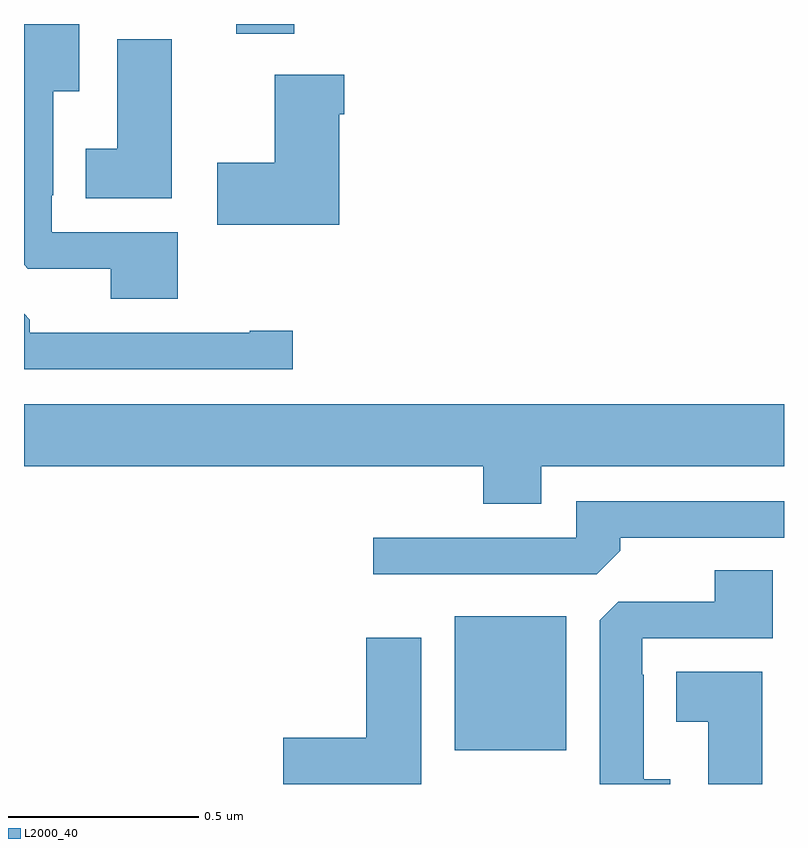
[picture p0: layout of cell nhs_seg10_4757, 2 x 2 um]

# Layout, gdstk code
import gdstk
lib = gdstk.Library(unit=1e-6, precision=1e-09)
def R(c, l, rs):  # rectangles x0, y0, x1, y1
    for r in rs: c.add(gdstk.rectangle(r[:2], r[2:], *l))
def P(c, l, *ps):  # polygons
    for p in ps: c.add(gdstk.Polygon(p, *l))
L2000_40 = (2000, 40)

nhs_seg10_4757 = lib.new_cell('nhs_seg10_4757')
R(nhs_seg10_4757, L2000_40, [(171.134,1279.589,171.427,1279.942), (170.558,1281.474,170.711,1281.5)])
P(nhs_seg10_4757, L2000_40, [(170.404,1280.952),(170.073,1280.952),(170.073,1281.049),(170.077,1281.049),(170.077,1281.323),(170.146,1281.323),(170.146,1281.5),(170,1281.5),(170,1280.866),(170.01,1280.856),(170.228,1280.856),(170.228,1280.777),(170.404,1280.777)],
  [(170.389,1281.46),(170.246,1281.46),(170.246,1281.172),(170.162,1281.172),(170.162,1281.041),(170.389,1281.041)],
  [(170.83,1281.263),(170.843,1281.263),(170.843,1281.367),(170.66,1281.367),(170.66,1281.135),(170.508,1281.135),(170.508,1280.972),(170.83,1280.972)],
  [(170.707,1280.693),(170.594,1280.693),(170.594,1280.688),(170.015,1280.688),(170.015,1280.722),(170,1280.737),(170,1280.592),(170.707,1280.592)],
  [(171.361,1280.336),(172,1280.336),(172,1280.5),(170,1280.5),(170,1280.336),(171.209,1280.336),(171.209,1280.237),(171.361,1280.237)],
  [(171.569,1280.114),(171.569,1280.148),(172,1280.148),(172,1280.244),(171.453,1280.244),(171.453,1280.148),(170.919,1280.148),(170.919,1280.052),(171.507,1280.052)],
  [(171.7,1279.513),(171.631,1279.513),(171.631,1279.787),(171.627,1279.787),(171.627,1279.884),(171.971,1279.884),(171.971,1280.063),(171.818,1280.063),(171.818,1279.98),(171.564,1279.98),(171.515,1279.931),(171.515,1279.5),(171.7,1279.5)],
  [(171.046,1279.885),(170.9,1279.885),(170.9,1279.622),(170.682,1279.622),(170.682,1279.5),(171.046,1279.5)],
  [(171.943,1279.795),(171.716,1279.795),(171.716,1279.664),(171.8,1279.664),(171.8,1279.5),(171.943,1279.5)])

lib.write_gds('nhs_seg10_4757.gds')
